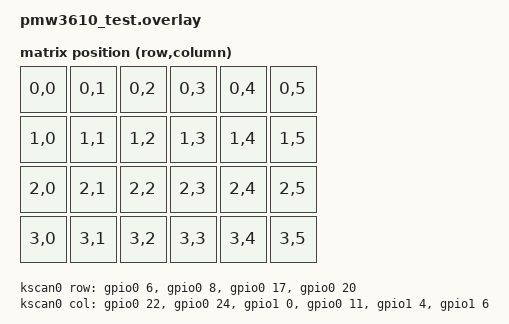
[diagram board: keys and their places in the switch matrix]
#include <dt-bindings/zmk/matrix_transform.h>
#include <dt-bindings/input/input-event-codes.h>
#include <dt-bindings/zmk/input_transform.h>
#include <input/processors.dtsi>
#include <zephyr/dt-bindings/pinctrl/nrf-pinctrl.h>

/ {
    chosen {
        zmk,kscan = &kscan0;
        zmk,matrix-transform = &default_transform;
    };

    default_transform: keymap_transform_0 {
        compatible = "zmk,matrix-transform";
        columns = <6>;
        rows = <4>;
        map = <
            RC(0,0) RC(0,1) RC(0,2) RC(0,3) RC(0,4) RC(0,5)
            RC(1,0) RC(1,1) RC(1,2) RC(1,3) RC(1,4) RC(1,5)
            RC(2,0) RC(2,1) RC(2,2) RC(2,3) RC(2,4) RC(2,5)
            RC(3,0) RC(3,1) RC(3,2) RC(3,3) RC(3,4) RC(3,5)
        >;
    };

    kscan0: kscan {
        compatible = "zmk,kscan-gpio-matrix";
        diode-direction = "col2row";

        row-gpios
            = <&gpio0 6  (GPIO_ACTIVE_HIGH | GPIO_PULL_DOWN)>
            , <&gpio0 8  (GPIO_ACTIVE_HIGH | GPIO_PULL_DOWN)>
            , <&gpio0 17 (GPIO_ACTIVE_HIGH | GPIO_PULL_DOWN)>
            , <&gpio0 20 (GPIO_ACTIVE_HIGH | GPIO_PULL_DOWN)>;

        col-gpios
            = <&gpio0 22 GPIO_ACTIVE_HIGH>
            , <&gpio0 24 GPIO_ACTIVE_HIGH>
            , <&gpio1 0  GPIO_ACTIVE_HIGH>
            , <&gpio0 11 GPIO_ACTIVE_HIGH>
            , <&gpio1 4  GPIO_ACTIVE_HIGH>
            , <&gpio1 6  GPIO_ACTIVE_HIGH>;
    };

    pmw3610_listener {
        compatible = "zmk,input-listener";
        device = <&pmw3610>;
        input-processors = <&zip_xy_transform (INPUT_TRANSFORM_XY_SWAP | INPUT_TRANSFORM_X_INVERT)>;
    };
};

&pinctrl {
    spi1_default: spi1_default {
        group1 {
            psels = <
                NRF_PSEL(SPIM_SCK, 1, 11)
                NRF_PSEL(SPIM_MOSI, 1, 13)
                NRF_PSEL(SPIM_MISO, 1, 13)
            >;
        };
    };

    spi1_sleep: spi1_sleep {
        group1 {
            psels = <
                NRF_PSEL(SPIM_SCK, 1, 11)
                NRF_PSEL(SPIM_MOSI, 1, 13)
                NRF_PSEL(SPIM_MISO, 1, 13)
            >;
            low-power-enable;
        };
    };
};

&spi1 {
    compatible = "nordic,nrf-spim";
    status = "okay";

    pinctrl-0 = <&spi1_default>;
    pinctrl-1 = <&spi1_sleep>;
    pinctrl-names = "default", "sleep";

    cs-gpios = <&gpio0 10 GPIO_ACTIVE_LOW>;

    pmw3610: pmw3610@0 {
        compatible = "pixart,pmw3610";
        reg = <0>;
        status = "okay";

        spi-max-frequency = <2000000>;

        motion-gpios = <&gpio0 9 GPIO_ACTIVE_LOW>;

        zephyr,axis-x = <INPUT_REL_X>;
        zephyr,axis-y = <INPUT_REL_Y>;

        res-cpi = <700>;
        smart-mode;
    };
};
